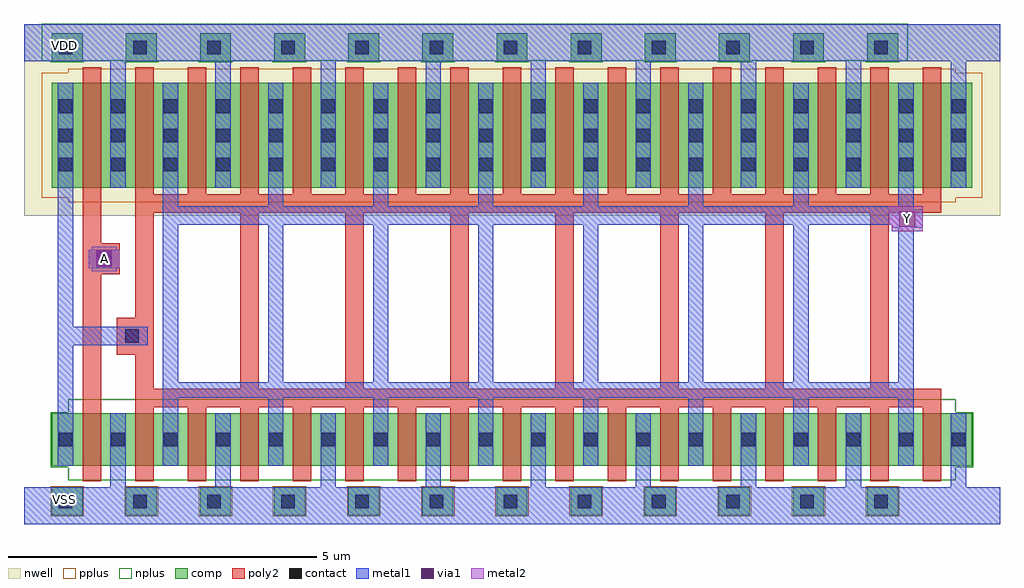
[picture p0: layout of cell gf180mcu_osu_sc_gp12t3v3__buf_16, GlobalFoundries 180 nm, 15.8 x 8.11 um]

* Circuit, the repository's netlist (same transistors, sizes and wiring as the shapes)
* Copyright 2022 Google LLC
*
* Licensed under the Apache License, Version 2.0 (the "License");
* you may not use this file except in compliance with the License.
* You may obtain a copy of the License at
*
*      http://www.apache.org/licenses/LICENSE-2.0
*
* Unless required by applicable law or agreed to in writing, software
* distributed under the License is distributed on an "AS IS" BASIS,
* WITHOUT WARRANTIES OR CONDITIONS OF ANY KIND, either express or implied.
* See the License for the specific language governing permissions and
* limitations under the License.

.inc "/import/yukari1/lrburle/OSU_180/char/techfiles/design.hspice"
.lib "/import/yukari1/lrburle/OSU_180/char/techfiles/sm141064.hspice" typical

.GLOBAL VDD
.GLOBAL VSS

.option scale=0.05u

.subckt gf180mcu_osu_sc_gp12t3v3__buf_16 A Y
X0 Y a_9_19 VDD VDD pmos_3p3 w=34 l=6
X1 VDD a_9_19 Y VDD pmos_3p3 w=34 l=6
X2 VSS a_9_19 Y VSS nmos_3p3 w=17 l=6
X3 Y a_9_19 VDD VDD pmos_3p3 w=34 l=6
X4 VSS a_9_19 Y VSS nmos_3p3 w=17 l=6
X5 Y a_9_19 VDD VDD pmos_3p3 w=34 l=6
X6 VDD a_9_19 Y VDD pmos_3p3 w=34 l=6
X7 VDD a_9_19 Y VDD pmos_3p3 w=34 l=6
X8 Y a_9_19 VSS VSS nmos_3p3 w=17 l=6
X9 Y a_9_19 VDD VDD pmos_3p3 w=34 l=6
X10 Y a_9_19 VSS VSS nmos_3p3 w=17 l=6
X11 VDD A a_9_19 VDD pmos_3p3 w=34 l=6
X12 VSS a_9_19 Y VSS nmos_3p3 w=17 l=6
X13 VSS a_9_19 Y VSS nmos_3p3 w=17 l=6
X14 VSS a_9_19 Y VSS nmos_3p3 w=17 l=6
X15 VSS A a_9_19 VSS nmos_3p3 w=17 l=6
X16 VSS a_9_19 Y VSS nmos_3p3 w=17 l=6
X17 Y a_9_19 VSS VSS nmos_3p3 w=17 l=6
X18 Y a_9_19 VSS VSS nmos_3p3 w=17 l=6
X19 VSS a_9_19 Y VSS nmos_3p3 w=17 l=6
X20 VSS a_9_19 Y VSS nmos_3p3 w=17 l=6
X21 Y a_9_19 VSS VSS nmos_3p3 w=17 l=6
X22 Y a_9_19 VDD VDD pmos_3p3 w=34 l=6
X23 VDD a_9_19 Y VDD pmos_3p3 w=34 l=6
X24 Y a_9_19 VSS VSS nmos_3p3 w=17 l=6
X25 VDD a_9_19 Y VDD pmos_3p3 w=34 l=6
X26 Y a_9_19 VSS VSS nmos_3p3 w=17 l=6
X27 Y a_9_19 VSS VSS nmos_3p3 w=17 l=6
X28 VDD a_9_19 Y VDD pmos_3p3 w=34 l=6
X29 Y a_9_19 VDD VDD pmos_3p3 w=34 l=6
X30 VDD a_9_19 Y VDD pmos_3p3 w=34 l=6
X31 Y a_9_19 VDD VDD pmos_3p3 w=34 l=6
X32 Y a_9_19 VDD VDD pmos_3p3 w=34 l=6
X33 VDD a_9_19 Y VDD pmos_3p3 w=34 l=6
.ends

** hspice subcircuit dictionary

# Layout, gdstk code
import gdstk
lib = gdstk.Library(unit=1e-6, precision=1e-09)
def R(c, l, rs):  # rectangles x0, y0, x1, y1
    for r in rs: c.add(gdstk.rectangle(r[:2], r[2:], *l))
def A(c, l, x, y, w, h, nx, ny, dx, dy):  # array of equal rectangles
    R(c, l, [(x+i*dx, y+j*dy, x+i*dx+w, y+j*dy+h) for i in range(nx) for j in range(ny)])
nwell = (21, 0)
comp = (22, 0)
poly2 = (30, 0)
pplus = (31, 0)
nplus = (32, 0)
contact = (33, 0)
metal1 = (34, 0)
via1 = (35, 0)
metal2 = (36, 0)

gf180mcu_osu_sc_gp12t3v3 = lib.new_cell('gf180mcu_osu_sc_gp12t3v3__buf_16')
R(gf180mcu_osu_sc_gp12t3v3, nwell, [(0,5,15.8,8.1)])
A(gf180mcu_osu_sc_gp12t3v3, comp, 0.45, 0.15, 0.5, 0.45, 12, 2, 1.2, 7.35)
R(gf180mcu_osu_sc_gp12t3v3, comp, [(0.45,0.95,15.35,1.8), (0.45,5.45,15.35,7.15)])
A(gf180mcu_osu_sc_gp12t3v3, poly2, 1.8, 0.7, 0.3, 1.2, 16, 1, 0.85, 0)
A(gf180mcu_osu_sc_gp12t3v3, poly2, 3.5, 2.2, 0.3, 2.85, 7, 1, 1.7, 0)
A(gf180mcu_osu_sc_gp12t3v3, poly2, 1.8, 5.35, 0.3, 2.05, 16, 1, 0.85, 0)
R(gf180mcu_osu_sc_gp12t3v3, poly2, [(0.95,0.7,1.25,4.05), (1.8,1.9,14.85,2.2), (1.8,2.2,2.1,2.75), (1.5,2.75,2.1,3.35), (1.8,3.35,2.1,5.05), (0.95,4.05,1.55,4.55), (0.95,4.55,1.25,7.4), (1.8,5.05,14.85,5.35)])
A(gf180mcu_osu_sc_gp12t3v3, pplus, 0.43, 0.13, 0.54, 0.49, 12, 1, 1.2, 0)
R(gf180mcu_osu_sc_gp12t3v3, pplus, [(0.72,5.22,15.08,5.29), (0.29,5.29,15.51,7.31), (0.72,7.31,15.08,7.38)])
A(gf180mcu_osu_sc_gp12t3v3, nplus, 0.43, 7.48, 0.54, 0.03, 12, 1, 1.2, 0)
R(gf180mcu_osu_sc_gp12t3v3, nplus, [(0.72,0.72,15.08,0.93), (0.43,0.93,15.37,1.82), (0.72,1.82,15.08,2.03), (0.29,7.51,14.31,8.11)])
A(gf180mcu_osu_sc_gp12t3v3, contact, 0.565, 0.265, 0.22, 0.22, 12, 2, 1.2, 7.35)
A(gf180mcu_osu_sc_gp12t3v3, contact, 0.565, 1.265, 0.22, 0.22, 18, 2, 0.85, 4.455)
A(gf180mcu_osu_sc_gp12t3v3, contact, 0.565, 6.19, 0.22, 0.22, 18, 2, 0.85, 0.47)
R(gf180mcu_osu_sc_gp12t3v3, contact, [(1.64,2.94,1.86,3.16), (1.19,4.19,1.41,4.41)])
A(gf180mcu_osu_sc_gp12t3v3, metal1, 1.4, 0.6, 0.25, 1.2, 9, 1, 1.7, 0)
A(gf180mcu_osu_sc_gp12t3v3, metal1, 2.25, 0.95, 0.25, 1.1, 8, 1, 1.7, 0)
A(gf180mcu_osu_sc_gp12t3v3, metal1, 2.25, 2.3, 0.25, 2.55, 7, 1, 1.7, 0)
A(gf180mcu_osu_sc_gp12t3v3, metal1, 2.25, 5.15, 0.25, 2, 8, 1, 1.7, 0)
A(gf180mcu_osu_sc_gp12t3v3, metal1, 1.4, 5.45, 0.25, 2.05, 9, 1, 1.7, 0)
R(gf180mcu_osu_sc_gp12t3v3, metal1, [(0,0,15.8,0.6), (0.55,0.95,0.8,2.9), (2.25,2.05,14.4,2.3), (14.15,2.3,14.4,4.8), (0.55,2.9,2,3.2), (0.55,3.2,0.8,7.15), (1.05,4.15,1.55,4.45), (14.05,4.8,14.55,4.85), (2.25,4.85,14.55,5.1), (2.25,5.1,14.4,5.15), (0,7.5,15.8,8.1)])
R(gf180mcu_osu_sc_gp12t3v3, via1, [(1.17,4.17,1.43,4.43), (14.17,4.82,14.43,5.08)])
R(gf180mcu_osu_sc_gp12t3v3, metal2, [(1.1,4.1,1.5,4.15), (1.05,4.15,1.55,4.45), (1.1,4.45,1.5,4.5), (14.05,4.75,14.55,4.85), (14,4.85,14.55,5.15)])
gf180mcu_osu_sc_gp12t3v3.add(gdstk.Label('VDD', (0.65,7.75), layer=34, texttype=0))
gf180mcu_osu_sc_gp12t3v3.add(gdstk.Label('VSS', (0.65,0.4), layer=34, texttype=0))
gf180mcu_osu_sc_gp12t3v3.add(gdstk.Label('A', (1.3,4.3), layer=36, texttype=10))
gf180mcu_osu_sc_gp12t3v3.add(gdstk.Label('Y', (14.3,4.95), layer=36, texttype=10))

lib.write_gds('gf180mcu_osu_sc_gp12t3v3__buf_16.gds')
